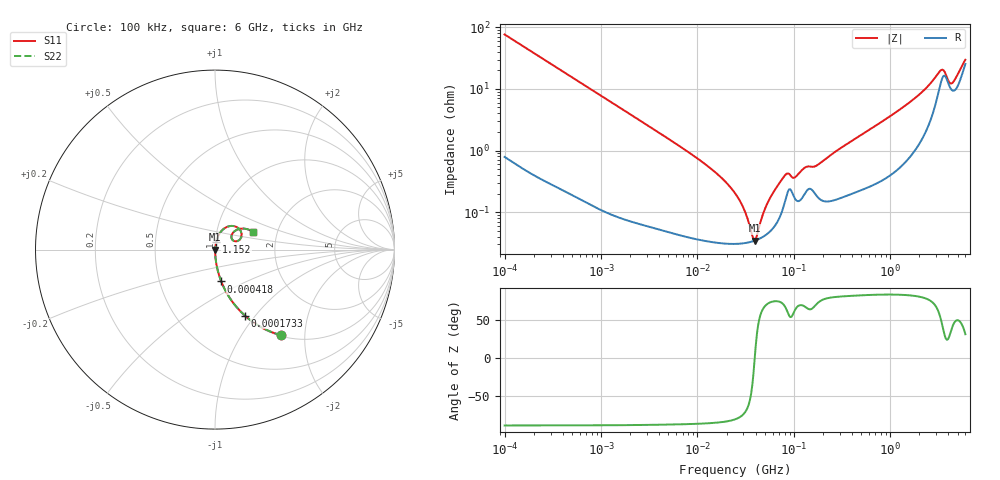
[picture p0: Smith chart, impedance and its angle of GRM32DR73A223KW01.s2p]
!Murata Part Number: GRM32DR73A223KW01
!These Parameters are Measured in Series Mode Connection
!Data Generated on Mar 30, 2021
!  o--ll--o
!Port1  Port2
!  o------o
!Operation Temp=25[degC], DC Bias Voltage=0[V]
!Freq. Start=100[kHz] Stop=6[GHz] 401[Steps]
# Hz S RI R 50
!Freq.(Hz) S11(Real) S11(Imag) S21(Real) S21(Imag) S12(Real) S12(Imag) S22(Real) S22(Imag)
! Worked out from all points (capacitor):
!   401 points, 100 kHz to 6 GHz, reference 50 ohm
!   read as one part in series: C = 20.8 nF near 105.7 kHz
!   lowest |Z| = 34.4 mohm at 39.1 MHz (marker M1)
!   series resonance near 39.25 MHz, so ESL is about 790 pH
!   S11 on the Smith chart (normalised r, x): 100 kHz: 1.02, -1.53; 173.3 kHz: 1.01, -0.88; 418 kHz: 1.00, -0.37; 1.152 GHz: 1.01, +0.08; 6 GHz: 1.51, +0.31
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100000  0.3701 -0.4777  0.6299 0.4777  0.6299 0.4777  0.3701 -0.4777
173344  0.1663 -0.3672  0.8337 0.3672  0.8337 0.3672  0.1663 -0.3672
417984  0.0349 -0.1776  0.9651 0.1776  0.9651 0.1776  0.0349 -0.1776
631452  0.0163 -0.1203  0.9837 0.1203  0.9837 0.1203  0.0163 -0.1203
3987316  0.000899 -0.0194  0.9991 0.0194  0.9991 0.0194  0.000899 -0.0194
1.374747e7  0.000354 -0.00508  0.9996 0.00508  0.9996 0.00508  0.000354 -0.00508
2.517799e7  0.000309 -0.00188  0.9997 0.00188  0.9997 0.00188  0.000309 -0.00188
3.05238e7  0.000314 -0.00105  0.9997 0.00105  0.9997 0.00105  0.000314 -0.00105
3.700465e7  0.000334 -0.000245  0.9997 0.000245  0.9997 0.000245  0.000334 -0.000245
3.909733e7  0.000344 -1.6e-05  0.9997 1.6e-05  0.9997 1.6e-05  0.000344 -1.6e-05
5.291103e7  0.000445 0.0013  0.9996 -0.0013  0.9996 -0.0013  0.000445 0.0013
7.776452e7  0.00122 0.00345  0.9988 -0.00345  0.9988 -0.00345  0.00122 0.00345
8.680865e7  0.00219 0.00364  0.9978 -0.00364  0.9978 -0.00364  0.00219 0.00364
1.023848e8  0.00166 0.00325  0.9983 -0.00325  0.9983 -0.00325  0.00166 0.00325
1.311426e8  0.00206 0.00489  0.9979 -0.00489  0.9979 -0.00489  0.00206 0.00489
1.546735e8  0.0023 0.00491  0.9977 -0.00491  0.9977 -0.00491  0.0023 0.00491
9.76689e8  0.00507 0.0348  0.9949 -0.0348  0.9949 -0.0348  0.00507 0.0348
1.151937e9  0.0064 0.0415  0.9936 -0.0415  0.9936 -0.0415  0.0064 0.0415
2.420771e9  0.0329 0.0999  0.9671 -0.0999  0.9671 -0.0999  0.0329 0.0999
3.276068e9  0.1191 0.1267  0.8809 -0.1267  0.8809 -0.1267  0.1191 0.1267
4.433555e9  0.0911 0.0708  0.9089 -0.0708  0.9089 -0.0708  0.0911 0.0708
6e9  0.2143 0.0966  0.7857 -0.0966  0.7857 -0.0966  0.2143 0.0966
